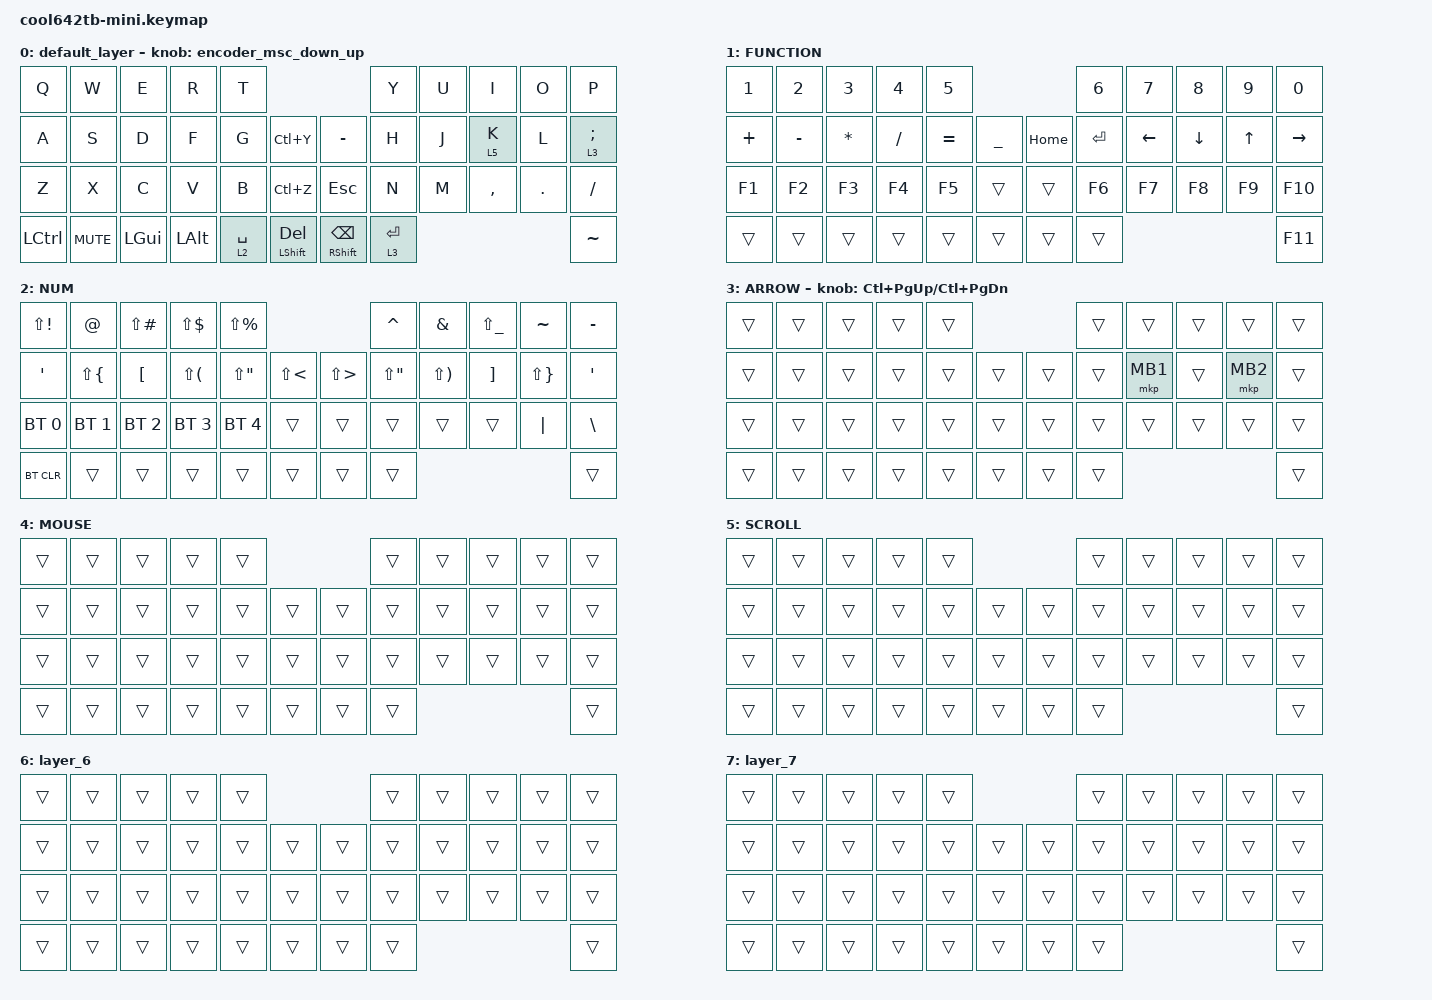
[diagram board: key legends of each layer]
#include <behaviors.dtsi>
#include <dt-bindings/zmk/bt.h>
#include <dt-bindings/zmk/keys.h>
#include <dt-bindings/zmk/pointing.h>

#define MOUSE 4
#define SCROLL 5
#define NUM 6
#define ZMK_POINTING_DEFAULT_SCRL_VAL 80

&mt {
    flavor = "balanced";
    quick-tap-ms = <0>;
};

/ {
    combos {
        compatible = "zmk,combos";

        shift_tab {
            bindings = <&kp LANG2>;
            key-positions = <12 11>;
        };

        lang {
            bindings = <&kp LANG1>;
            key-positions = <13 12>;
        };

        tab {
            bindings = <&kp TAB>;
            key-positions = <10 11>;
        };
    };

    behaviors {
        encoder_msc_down_up: encoder_msc_down_up {
            compatible = "zmk,behavior-sensor-rotate";
            label = "ENCODER_MSC_DOWN_UP";
            #sensor-binding-cells = <0>;
            bindings = <&msc SCRL_UP>, <&msc SCRL_DOWN>;

            tap-ms = <20>;
        };
    };

    keymap {
        compatible = "zmk,keymap";

        default_layer {
            bindings = <
&kp Q      &kp W       &kp E         &kp R         &kp T                                                    &kp Y        &kp U  &kp I      &kp O    &kp P
&kp A      &kp S       &kp D         &kp F         &kp G        &kp LC(Y)              &kp MINUS            &kp H        &kp J  &lt 5 K    &kp L    &lt 3 SEMICOLON
&kp Z      &kp X       &kp C         &kp V         &kp B        &kp LC(Z)              &kp ESC              &kp N        &kp M  &kp COMMA  &kp DOT  &kp SLASH
&kp LCTRL  &kp C_MUTE  &kp LEFT_GUI  &kp LEFT_ALT  &lt 2 SPACE  &mt LSHIFT DELETE      &mt RSHFT BACKSPACE  &lt 3 ENTER                             &kp TILDE
            >;

            sensor-bindings = <&encoder_msc_down_up>;
        };

        FUNCTION {
            bindings = <
&kp N1    &kp N2     &kp N3     &kp N4     &kp N5                              &kp N6     &kp N7    &kp N8    &kp N9        &kp N0
&kp PLUS  &kp MINUS  &kp ASTRK  &kp SLASH  &kp EQUAL  &kp UNDER      &kp HOME  &kp ENTER  &kp LEFT  &kp DOWN  &kp UP_ARROW  &kp RIGHT
&kp F1    &kp F2     &kp F3     &kp F4     &kp F5     &trans         &trans    &kp F6     &kp F7    &kp F8    &kp F9        &kp F10
&trans    &trans     &trans     &trans     &trans     &trans         &trans    &trans                                       &kp F11
            >;
        };

        NUM {
            bindings = <
&kp LS(EXCL)  &kp AT        &kp LS(POUND)  &kp LS(DLLR)  &kp LS(PRCNT)                              &kp CARET    &kp AMPERSAND  &kp LS(UNDER)  &kp TILDE     &kp MINUS
&kp SQT       &kp LS(LBRC)  &kp LBKT       &kp LS(LPAR)  &kp LS(DQT)    &kp LS(LT)      &kp LS(GT)  &kp LS(DQT)  &kp LS(RPAR)   &kp RBKT       &kp LS(RBRC)  &kp SQT
&bt BT_SEL 0  &bt BT_SEL 1  &bt BT_SEL 2   &bt BT_SEL 3  &bt BT_SEL 4   &trans          &trans      &trans       &trans         &trans         &kp PIPE      &kp BACKSLASH
&bt BT_CLR    &trans        &trans         &trans        &trans         &trans          &trans      &trans                                                   &trans
            >;
        };

        ARROW {
            bindings = <
&trans  &trans  &trans  &trans  &trans                      &trans  &trans    &trans  &trans    &trans
&trans  &trans  &trans  &trans  &trans  &trans      &trans  &trans  &mkp MB1  &trans  &mkp MB2  &trans
&trans  &trans  &trans  &trans  &trans  &trans      &trans  &trans  &trans    &trans  &trans    &trans
&trans  &trans  &trans  &trans  &trans  &trans      &trans  &trans                              &trans
            >;

            sensor-bindings = <&inc_dec_kp LC(PAGE_UP) LC(PAGE_DOWN)>;
        };

        MOUSE {
            bindings = <
&trans  &trans  &trans  &trans  &trans                      &trans  &trans  &trans  &trans  &trans
&trans  &trans  &trans  &trans  &trans  &trans      &trans  &trans  &trans  &trans  &trans  &trans
&trans  &trans  &trans  &trans  &trans  &trans      &trans  &trans  &trans  &trans  &trans  &trans
&trans  &trans  &trans  &trans  &trans  &trans      &trans  &trans                          &trans
            >;
        };

        SCROLL {
            bindings = <
&trans  &trans  &trans  &trans  &trans                      &trans  &trans  &trans  &trans  &trans
&trans  &trans  &trans  &trans  &trans  &trans      &trans  &trans  &trans  &trans  &trans  &trans
&trans  &trans  &trans  &trans  &trans  &trans      &trans  &trans  &trans  &trans  &trans  &trans
&trans  &trans  &trans  &trans  &trans  &trans      &trans  &trans                          &trans
            >;
        };

        layer_6 {
            bindings = <
&trans  &trans  &trans  &trans  &trans                      &trans  &trans  &trans  &trans  &trans
&trans  &trans  &trans  &trans  &trans  &trans      &trans  &trans  &trans  &trans  &trans  &trans
&trans  &trans  &trans  &trans  &trans  &trans      &trans  &trans  &trans  &trans  &trans  &trans
&trans  &trans  &trans  &trans  &trans  &trans      &trans  &trans                          &trans
            >;
        };

        layer_7 {
            bindings = <
&trans  &trans  &trans  &trans  &trans                      &trans  &trans  &trans  &trans  &trans
&trans  &trans  &trans  &trans  &trans  &trans      &trans  &trans  &trans  &trans  &trans  &trans
&trans  &trans  &trans  &trans  &trans  &trans      &trans  &trans  &trans  &trans  &trans  &trans
&trans  &trans  &trans  &trans  &trans  &trans      &trans  &trans                          &trans
            >;
        };
    };
};
